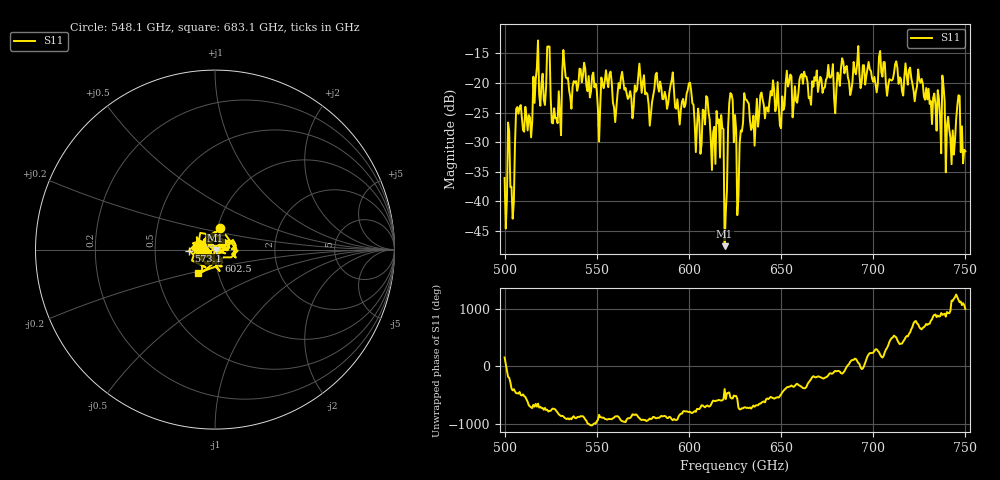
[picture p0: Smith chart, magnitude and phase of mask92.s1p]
!Created with skrf (http://scikit-rf.org).
# GHz S MA R 50.0
!freq magS11 angS11
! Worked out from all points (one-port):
!   401 points, 500 GHz to 750 GHz, reference 50 ohm
!   lowest |S11| = -47.5 dB at 619.4 GHz (marker M1), VSWR 1.01, Z = 50.3 - j0.236 ohm
!   |S11| at or under -10 dB: start of sweep to end of sweep
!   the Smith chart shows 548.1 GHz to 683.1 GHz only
!   S11 on the Smith chart (normalised r, x): 548.1 GHz: 1.03, +0.25; 573.1 GHz: 0.75, -0.01; 602.5 GHz: 1.03, -0.13; 683.1 GHz: 0.80, -0.22
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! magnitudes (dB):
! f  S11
! 500 GHz  -36.0
! 504.4 GHz  -42.9
! 507.5 GHz  -25.2
! 513.8 GHz  -25.8
! 516.9 GHz  -19.4
! 523.8 GHz  -13.8
! 526.9 GHz  -24.3
! 531.2 GHz  -18.3
! 548.1 GHz  -18.3
! 562.5 GHz  -20.9
! 573.1 GHz  -16.7
! 593.8 GHz  -22.8
! 602.5 GHz  -23.7
! 617.5 GHz  -25.4
! 619.4 GHz  -47.5
! 620.6 GHz  -38.2
! 622.5 GHz  -21.7
! 625 GHz  -25.4
! 627.5 GHz  -30.4
! 631.2 GHz  -22.9
! 634.4 GHz  -27.4
! 656.2 GHz  -25.8
! 683.1 GHz  -15.8
! 687.5 GHz  -22.1
! 718.8 GHz  -20.3
! 743.1 GHz  -28.0
! 745.6 GHz  -23.8
! 750 GHz  -31.5
